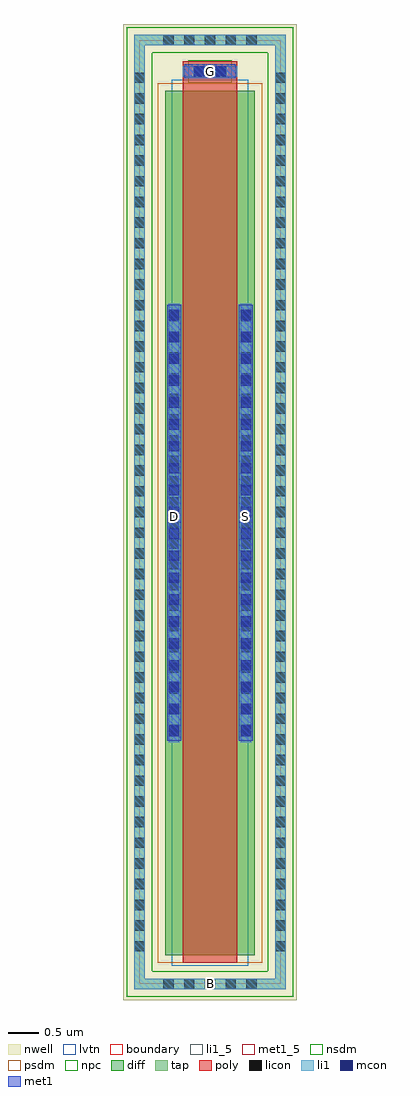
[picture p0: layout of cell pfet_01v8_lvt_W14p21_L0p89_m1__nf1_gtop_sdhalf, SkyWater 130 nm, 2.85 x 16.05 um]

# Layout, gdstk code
import gdstk
lib = gdstk.Library(unit=1e-6, precision=1e-09)
def R(c, l, rs):  # rectangles x0, y0, x1, y1
    for r in rs: c.add(gdstk.rectangle(r[:2], r[2:], *l))
def A(c, l, x, y, w, h, nx, ny, dx, dy):  # array of equal rectangles
    R(c, l, [(x+i*dx, y+j*dy, x+i*dx+w, y+j*dy+h) for i in range(nx) for j in range(ny)])
nwell = (64, 20)
diff = (65, 20)
tap = (65, 44)
poly = (66, 20)
licon = (66, 44)
li1_5 = (67, 5)
li1 = (67, 20)
mcon = (67, 44)
met1_5 = (68, 5)
met1 = (68, 20)
nsdm = (93, 44)
psdm = (94, 20)
npc = (95, 20)
lvtn = (125, 44)
boundary = (235, 4)

sky130_fd_pr__pfet_01v8_ = lib.new_cell('sky130_fd_pr__pfet_01v8_lvt_UC2RX7')
R(sky130_fd_pr__pfet_01v8_, nwell, [(-1.425,-8.025,1.425,8.025)])
R(sky130_fd_pr__pfet_01v8_, diff, [(-0.735,-7.285,0.735,6.925)])
R(sky130_fd_pr__pfet_01v8_, tap, [(-1.245,-7.845,1.245,-7.675), (-1.245,-7.675,-1.075,7.675), (1.075,-7.675,1.245,7.675), (-1.245,7.675,1.245,7.845)])
R(sky130_fd_pr__pfet_01v8_, poly, [(-0.445,-7.415,0.445,7.41)])
A(sky130_fd_pr__pfet_01v8_, licon, -0.765, -7.845, 0.17, 0.17, 5, 2, 0.34, 15.52)
A(sky130_fd_pr__pfet_01v8_, licon, -1.245, -7.225, 0.17, 0.17, 1, 43, 0, 0.34)
A(sky130_fd_pr__pfet_01v8_, licon, 1.075, -7.225, 0.17, 0.17, 1, 43, 0, 0.34)
A(sky130_fd_pr__pfet_01v8_, licon, -0.675, -3.665, 0.17, 0.17, 1, 21, 0, 0.34)
A(sky130_fd_pr__pfet_01v8_, licon, 0.505, -3.665, 0.17, 0.17, 1, 21, 0, 0.34)
R(sky130_fd_pr__pfet_01v8_, licon, [(-0.255,7.16,-0.085,7.33), (0.085,7.16,0.255,7.33)])
R(sky130_fd_pr__pfet_01v8_, li1, [(-1.245,-7.845,1.245,-7.675), (-1.245,-7.675,-1.075,7.675), (1.075,-7.675,1.245,7.675), (-0.675,-3.785,-0.505,3.425), (0.505,-3.785,0.675,3.425), (-0.445,7.16,0.445,7.33), (-1.245,7.675,1.245,7.845)])
A(sky130_fd_pr__pfet_01v8_, mcon, -0.675, -3.685, 0.17, 0.17, 1, 20, 0, 0.36)
A(sky130_fd_pr__pfet_01v8_, mcon, 0.505, -3.685, 0.17, 0.17, 1, 20, 0, 0.36)
R(sky130_fd_pr__pfet_01v8_, mcon, [(-0.265,7.16,-0.095,7.33), (0.095,7.16,0.265,7.33)])
R(sky130_fd_pr__pfet_01v8_, met1, [(-0.705,-3.765,-0.475,3.405), (0.475,-3.765,0.705,3.405), (-0.425,7.13,0.425,7.36)])
R(sky130_fd_pr__pfet_01v8_, nsdm, [(-1.37,-7.97,1.37,-7.55), (-1.37,-7.55,-0.95,7.55), (0.95,-7.55,1.37,7.55), (-1.37,7.55,1.37,7.97)])
R(sky130_fd_pr__pfet_01v8_, psdm, [(-0.86,-7.41,0.86,7.05)])
R(sky130_fd_pr__pfet_01v8_, npc, [(-0.355,7.06,0.355,7.43)])
R(sky130_fd_pr__pfet_01v8_, lvtn, [(-0.625,-7.465,0.625,7.105)])
R(sky130_fd_pr__pfet_01v8_, boundary, [(-1.16,-7.76,1.16,7.76)])
sky130_fd_pr__pfet_01v8_.add(gdstk.Label('B', (0,-7.76), layer=67, texttype=5))
sky130_fd_pr__pfet_01v8_.add(gdstk.Label('D', (-0.59,-0.18), layer=67, texttype=5))
sky130_fd_pr__pfet_01v8_.add(gdstk.Label('S', (0.59,-0.18), layer=67, texttype=5))
sky130_fd_pr__pfet_01v8_.add(gdstk.Label('G', (0,7.245), layer=67, texttype=5))

pfet_01v8_lvt_w14p21_l0p = lib.new_cell('pfet_01v8_lvt_W14p21_L0p89_m1__nf1_gtop_sdhalf')
R(pfet_01v8_lvt_w14p21_l0p, li1_5, [(1.075,-0.085,1.245,0.085)])
R(pfet_01v8_lvt_w14p21_l0p, li1, [(1.075,-0.085,1.245,0.085)])
R(pfet_01v8_lvt_w14p21_l0p, met1_5, [(0.455,7.58,0.685,7.78), (1.635,7.58,1.865,7.78), (0.735,14.89,1.585,15.12)])
R(pfet_01v8_lvt_w14p21_l0p, met1, [(0.455,7.58,0.685,7.78), (1.635,7.58,1.865,7.78), (0.735,14.89,1.585,15.12)])
pfet_01v8_lvt_w14p21_l0p.add(gdstk.Reference(sky130_fd_pr__pfet_01v8_, (1.16,7.76)))
pfet_01v8_lvt_w14p21_l0p.add(gdstk.Label('D', (0.57,7.68), layer=68, texttype=5))
pfet_01v8_lvt_w14p21_l0p.add(gdstk.Label('S', (1.75,7.68), layer=68, texttype=5))
pfet_01v8_lvt_w14p21_l0p.add(gdstk.Label('G', (1.16,15.005), layer=68, texttype=5))
pfet_01v8_lvt_w14p21_l0p.add(gdstk.Label('B', (1.16,0), layer=67, texttype=5))

lib.write_gds('pfet_01v8_lvt_W14p21_L0p89_m1__nf1_gtop_sdhalf.gds')
